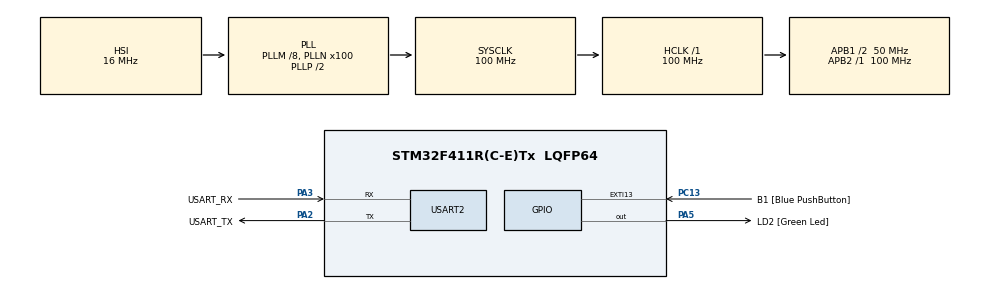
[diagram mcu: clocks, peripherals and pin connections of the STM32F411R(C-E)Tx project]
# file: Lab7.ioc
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Dma.MEMTOMEM.0.Direction=DMA_MEMORY_TO_MEMORY
Dma.MEMTOMEM.0.FIFOMode=DMA_FIFOMODE_ENABLE
Dma.MEMTOMEM.0.FIFOThreshold=DMA_FIFO_THRESHOLD_FULL
Dma.MEMTOMEM.0.Instance=DMA2_Stream0
Dma.MEMTOMEM.0.MemBurst=DMA_MBURST_SINGLE
Dma.MEMTOMEM.0.MemDataAlignment=DMA_MDATAALIGN_BYTE
Dma.MEMTOMEM.0.MemInc=DMA_MINC_ENABLE
Dma.MEMTOMEM.0.Mode=DMA_NORMAL
Dma.MEMTOMEM.0.PeriphBurst=DMA_PBURST_SINGLE
Dma.MEMTOMEM.0.PeriphDataAlignment=DMA_PDATAALIGN_BYTE
Dma.MEMTOMEM.0.PeriphInc=DMA_PINC_ENABLE
Dma.MEMTOMEM.0.Priority=DMA_PRIORITY_LOW
Dma.Request0=MEMTOMEM
Dma.Request1=USART2_RX
Dma.Request2=USART2_TX
Dma.USART2_RX.1.Direction=DMA_PERIPH_TO_MEMORY
Dma.USART2_RX.1.FIFOMode=DMA_FIFOMODE_DISABLE
Dma.USART2_RX.1.Instance=DMA1_Stream5
Dma.USART2_RX.1.MemDataAlignment=DMA_MDATAALIGN_BYTE
Dma.USART2_RX.1.MemInc=DMA_MINC_ENABLE
Dma.USART2_RX.1.Mode=DMA_NORMAL
Dma.USART2_RX.1.PeriphDataAlignment=DMA_PDATAALIGN_BYTE
Dma.USART2_RX.1.PeriphInc=DMA_PINC_DISABLE
Dma.USART2_RX.1.Priority=DMA_PRIORITY_LOW
Dma.USART2_TX.2.Direction=DMA_MEMORY_TO_PERIPH
Dma.USART2_TX.2.FIFOMode=DMA_FIFOMODE_DISABLE
Dma.USART2_TX.2.Instance=DMA1_Stream6
Dma.USART2_TX.2.MemDataAlignment=DMA_MDATAALIGN_BYTE
Dma.USART2_TX.2.MemInc=DMA_MINC_ENABLE
Dma.USART2_TX.2.Mode=DMA_NORMAL
Dma.USART2_TX.2.PeriphDataAlignment=DMA_PDATAALIGN_BYTE
Dma.USART2_TX.2.PeriphInc=DMA_PINC_DISABLE
Dma.USART2_TX.2.Priority=DMA_PRIORITY_LOW
Mcu.Family=STM32F4
Mcu.Name=STM32F411R(C-E)Tx
Mcu.Package=LQFP64
NVIC.DMA1_Stream5_IRQn=true\:0\:0\:false\:false\:true\:false\:true\:true
NVIC.DMA1_Stream6_IRQn=true\:0\:0\:false\:false\:true\:false\:true\:true
NVIC.EXTI15_10_IRQn=true\:0\:0\:false\:false\:true\:true\:true\:true
NVIC.PriorityGroup=NVIC_PRIORITYGROUP_0
NVIC.TIM2_IRQn=true\:0\:0\:false\:false\:true\:true\:true\:true
NVIC.USART2_IRQn=true\:0\:0\:false\:false\:true\:true\:true\:true
PA13.GPIO_Label=TMS
PA13.Mode=Serial_Wire
PA13.Signal=SYS_JTMS-SWDIO
PA14.GPIO_Label=TCK
PA14.Mode=Serial_Wire
PA14.Signal=SYS_JTCK-SWCLK
PA2.GPIO_Label=USART_TX
PA2.Mode=Asynchronous
PA2.Signal=USART2_TX
PA3.GPIO_Label=USART_RX
PA3.Mode=Asynchronous
PA3.Signal=USART2_RX
PA5.GPIO_Label=LD2 [Green Led]
PA5.Signal=GPIO_Output
PB3.GPIO_Label=SWO
PB3.Signal=SYS_JTDO-SWO
PC13-ANTI_TAMP.GPIO_Label=B1 [Blue PushButton]
PC13-ANTI_TAMP.GPIO_ModeDefaultEXTI=GPIO_MODE_IT_FALLING
PC13-ANTI_TAMP.Signal=GPXTI13
PC14-OSC32_IN.Mode=LSE-External-Oscillator
PC14-OSC32_IN.Signal=RCC_OSC32_IN
PC15-OSC32_OUT.Mode=LSE-External-Oscillator
PC15-OSC32_OUT.Signal=RCC_OSC32_OUT
PH0\ -\ OSC_IN.Mode=HSE-External-Clock-Source
PH0\ -\ OSC_IN.Signal=RCC_OSC_IN
PH1\ -\ OSC_OUT.Mode=HSE-External-Clock-Source
PH1\ -\ OSC_OUT.Signal=RCC_OSC_OUT
ProjectManager.HeapSize=0x200
ProjectManager.StackSize=0x400
ProjectManager.TargetToolchain=STM32CubeIDE
RCC.48MHZClocksFreq_Value=50000000
RCC.AHBFreq_Value=100000000
RCC.APB1CLKDivider=RCC_HCLK_DIV2
RCC.APB1Freq_Value=50000000
RCC.APB1TimFreq_Value=100000000
RCC.APB2Freq_Value=100000000
RCC.APB2TimFreq_Value=100000000
RCC.CortexFreq_Value=100000000
RCC.FLatency-AdvancedSettings=FLASH_LATENCY_3
RCC.HCLKFreq_Value=100000000
RCC.HSE_VALUE=8000000
RCC.HSI_VALUE=16000000
RCC.PLLM=8
RCC.PLLN=100
RCC.SYSCLKFreq_VALUE=100000000
RCC.SYSCLKSource=RCC_SYSCLKSOURCE_PLLCLK
RCC.VCOOutputFreq_Value=200000000
TIM2.Period=100000
TIM2.Prescaler=100
USART2.VirtualMode=VM_ASYNC
VP_TIM2_VS_ClockSourceINT.Mode=Internal
board=NUCLEO-F411RE

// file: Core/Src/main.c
/* USER CODE BEGIN Header */
/**
  ******************************************************************************
  * @file           : main.c
  * @brief          : Main program body
  ******************************************************************************
  * @attention
  *
  * Copyright (c) 2023 STMicroelectronics.
  * All rights reserved.
  *
  * This software is licensed under terms that can be found in the LICENSE file
  * in the root directory of this software component.
  * If no LICENSE file comes with this software, it is provided AS-IS.
  *
  ******************************************************************************
  */
/* USER CODE END Header */
#include "main.h"

TIM_HandleTypeDef htim2;

UART_HandleTypeDef huart2;
DMA_HandleTypeDef hdma_usart2_rx;
DMA_HandleTypeDef hdma_usart2_tx;

DMA_HandleTypeDef hdma_memtomem_dma2_stream0;

void SystemClock_Config(void);
static void MX_GPIO_Init(void);
static void MX_DMA_Init(void);
static void MX_USART2_UART_Init(void);
static void MX_TIM2_Init(void);

/* USER CODE BEGIN 0 */
uint8_t arr0[256],arr1[256];
int now = 0,sz = 256,needToPrint = 0,printingIndex = 0,printingArray = 0;
void HAL_GPIO_EXTI_Callback(uint16_t GPIO_Pin){
	if(GPIO_Pin == GPIO_PIN_13){
		HAL_DMA_Start(&hdma_memtomem_dma2_stream0, arr0, arr1, 256);
		HAL_DMA_PollForTransfer(&hdma_memtomem_dma2_stream0, HAL_DMA_FULL_TRANSFER, HAL_MAX_DELAY);
	}
}
void HAL_UART_RxCpltCallback(UART_HandleTypeDef *huart){
//  																	LAB 7-2 BEGIN
//	if(now == 0){
//		HAL_UART_Transmit_DMA(&huart2, arr0, sz);
//		HAL_UART_Receive_DMA(&huart2, arr1, sz);
//	}else{
//		HAL_UART_Transmit_DMA(&huart2, arr1, sz);
//		HAL_UART_Receive_DMA(&huart2, arr0, sz);
//	}
//	now^=1;
//  																	LAB 7-2 END
//	  																	LAB 7-3 BEGIN
	if(now == 0){
		needToPrint = 1;
		printingArray = 0;
		printingIndex = 0;
		HAL_UART_Receive_DMA(&huart2, arr1, sz);
	}else{
		needToPrint = 1;
		printingArray = 1;
		printingIndex = 0;
		HAL_UART_Receive_DMA(&huart2, arr0, sz);
	}
	now^=1;
//  																	LAB 7-3 END
}

void HAL_TIM_PeriodElapsedCallback(TIM_HandleTypeDef* htim){
	if(!needToPrint)		return ;
	if(printingIndex >= sz){
		needToPrint = 0;
		return ;
	}
	int printingSize = 1;
	if(htim->Instance = TIM2){
		if(printingArray == 0){
			HAL_UART_Transmit_DMA(&huart2, arr0, printingSize);
		}else{
			HAL_UART_Transmit_DMA(&huart2, arr1, printingSize);
		}
	}
	printingIndex++;
}
/* USER CODE END 0 */

int main(void)
{

  /* MCU Configuration--------------------------------------------------------*/

  /* Reset of all peripherals, Initializes the Flash interface and the Systick. */
  HAL_Init();

  /* Configure the system clock */
  SystemClock_Config();

  /* Initialize all configured peripherals */
  MX_GPIO_Init();
  MX_DMA_Init();
  MX_USART2_UART_Init();
  MX_TIM2_Init();
  /* USER CODE BEGIN 2 */
//  																	LAB 7-1 BEGIN
//  for(int i=0;i<256;i++)
//	  arr0[i] = ((i + 55) * 37) % 57;
//  HAL_DMA_Init(&hdma_memtomem_dma2_stream0);
//  																	LAB 7-1 END
//																		LAB 7-2 BEGIN
  HAL_UART_Receive_DMA(&huart2, arr0, sz);
//  																	LAB 7-2 END
//  																	LAB 7-3 BEGIN
  HAL_TIM_Base_Start_IT(&htim2);
//  																	LAB 7-3 END

  /* USER CODE END 2 */

  /* Infinite loop */
  /* USER CODE BEGIN WHILE */
  while (1)
  {
	HAL_GPIO_TogglePin(GPIOA, GPIO_PIN_5);
	HAL_Delay(200);
    /* USER CODE END WHILE */

  }
}

void SystemClock_Config(void)
{
  RCC_OscInitTypeDef RCC_OscInitStruct = {0};
  RCC_ClkInitTypeDef RCC_ClkInitStruct = {0};

  /** Configure the main internal regulator output voltage
  */
  __HAL_RCC_PWR_CLK_ENABLE();
  __HAL_PWR_VOLTAGESCALING_CONFIG(PWR_REGULATOR_VOLTAGE_SCALE1);

  /** Initializes the RCC Oscillators according to the specified parameters
  * in the RCC_OscInitTypeDef structure.
  */
  RCC_OscInitStruct.OscillatorType = RCC_OSCILLATORTYPE_HSI;
  RCC_OscInitStruct.HSIState = RCC_HSI_ON;
  RCC_OscInitStruct.HSICalibrationValue = RCC_HSICALIBRATION_DEFAULT;
  RCC_OscInitStruct.PLL.PLLState = RCC_PLL_ON;
  RCC_OscInitStruct.PLL.PLLSource = RCC_PLLSOURCE_HSI;
  RCC_OscInitStruct.PLL.PLLM = 8;
  RCC_OscInitStruct.PLL.PLLN = 100;
  RCC_OscInitStruct.PLL.PLLP = RCC_PLLP_DIV2;
  RCC_OscInitStruct.PLL.PLLQ = 4;
  if (HAL_RCC_OscConfig(&RCC_OscInitStruct) != HAL_OK)
  {
    Error_Handler();
  }

  /** Initializes the CPU, AHB and APB buses clocks
  */
  RCC_ClkInitStruct.ClockType = RCC_CLOCKTYPE_HCLK|RCC_CLOCKTYPE_SYSCLK
                              |RCC_CLOCKTYPE_PCLK1|RCC_CLOCKTYPE_PCLK2;
  RCC_ClkInitStruct.SYSCLKSource = RCC_SYSCLKSOURCE_PLLCLK;
  RCC_ClkInitStruct.AHBCLKDivider = RCC_SYSCLK_DIV1;
  RCC_ClkInitStruct.APB1CLKDivider = RCC_HCLK_DIV2;
  RCC_ClkInitStruct.APB2CLKDivider = RCC_HCLK_DIV1;

  if (HAL_RCC_ClockConfig(&RCC_ClkInitStruct, FLASH_LATENCY_3) != HAL_OK)
  {
    Error_Handler();
  }
}

static void MX_TIM2_Init(void)
{

  TIM_ClockConfigTypeDef sClockSourceConfig = {0};
  TIM_MasterConfigTypeDef sMasterConfig = {0};

  htim2.Instance = TIM2;
  htim2.Init.Prescaler = 100;
  htim2.Init.CounterMode = TIM_COUNTERMODE_UP;
  htim2.Init.Period = 100000;
  htim2.Init.ClockDivision = TIM_CLOCKDIVISION_DIV1;
  htim2.Init.AutoReloadPreload = TIM_AUTORELOAD_PRELOAD_DISABLE;
  if (HAL_TIM_Base_Init(&htim2) != HAL_OK)
  {
    Error_Handler();
  }
  sClockSourceConfig.ClockSource = TIM_CLOCKSOURCE_INTERNAL;
  if (HAL_TIM_ConfigClockSource(&htim2, &sClockSourceConfig) != HAL_OK)
  {
    Error_Handler();
  }
  sMasterConfig.MasterOutputTrigger = TIM_TRGO_RESET;
  sMasterConfig.MasterSlaveMode = TIM_MASTERSLAVEMODE_DISABLE;
  if (HAL_TIMEx_MasterConfigSynchronization(&htim2, &sMasterConfig) != HAL_OK)
  {
    Error_Handler();
  }

}

static void MX_USART2_UART_Init(void)
{

  huart2.Instance = USART2;
  huart2.Init.BaudRate = 115200;
  huart2.Init.WordLength = UART_WORDLENGTH_8B;
  huart2.Init.StopBits = UART_STOPBITS_1;
  huart2.Init.Parity = UART_PARITY_NONE;
  huart2.Init.Mode = UART_MODE_TX_RX;
  huart2.Init.HwFlowCtl = UART_HWCONTROL_NONE;
  huart2.Init.OverSampling = UART_OVERSAMPLING_16;
  if (HAL_UART_Init(&huart2) != HAL_OK)
  {
    Error_Handler();
  }

}

static void MX_DMA_Init(void)
{

  /* DMA controller clock enable */
  __HAL_RCC_DMA2_CLK_ENABLE();
  __HAL_RCC_DMA1_CLK_ENABLE();

  /* Configure DMA request hdma_memtomem_dma2_stream0 on DMA2_Stream0 */
  hdma_memtomem_dma2_stream0.Instance = DMA2_Stream0;
  hdma_memtomem_dma2_stream0.Init.Channel = DMA_CHANNEL_0;
  hdma_memtomem_dma2_stream0.Init.Direction = DMA_MEMORY_TO_MEMORY;
  hdma_memtomem_dma2_stream0.Init.PeriphInc = DMA_PINC_ENABLE;
  hdma_memtomem_dma2_stream0.Init.MemInc = DMA_MINC_ENABLE;
  hdma_memtomem_dma2_stream0.Init.PeriphDataAlignment = DMA_PDATAALIGN_BYTE;
  hdma_memtomem_dma2_stream0.Init.MemDataAlignment = DMA_MDATAALIGN_BYTE;
  hdma_memtomem_dma2_stream0.Init.Mode = DMA_NORMAL;
  hdma_memtomem_dma2_stream0.Init.Priority = DMA_PRIORITY_LOW;
  hdma_memtomem_dma2_stream0.Init.FIFOMode = DMA_FIFOMODE_ENABLE;
  hdma_memtomem_dma2_stream0.Init.FIFOThreshold = DMA_FIFO_THRESHOLD_FULL;
  hdma_memtomem_dma2_stream0.Init.MemBurst = DMA_MBURST_SINGLE;
  hdma_memtomem_dma2_stream0.Init.PeriphBurst = DMA_PBURST_SINGLE;
  if (HAL_DMA_Init(&hdma_memtomem_dma2_stream0) != HAL_OK)
  {
    Error_Handler( );
  }

  /* DMA interrupt init */
  /* DMA1_Stream5_IRQn interrupt configuration */
  HAL_NVIC_SetPriority(DMA1_Stream5_IRQn, 0, 0);
  HAL_NVIC_EnableIRQ(DMA1_Stream5_IRQn);
  /* DMA1_Stream6_IRQn interrupt configuration */
  HAL_NVIC_SetPriority(DMA1_Stream6_IRQn, 0, 0);
  HAL_NVIC_EnableIRQ(DMA1_Stream6_IRQn);

}

static void MX_GPIO_Init(void)
{
  GPIO_InitTypeDef GPIO_InitStruct = {0};

  /* GPIO Ports Clock Enable */
  __HAL_RCC_GPIOC_CLK_ENABLE();
  __HAL_RCC_GPIOH_CLK_ENABLE();
  __HAL_RCC_GPIOA_CLK_ENABLE();
  __HAL_RCC_GPIOB_CLK_ENABLE();

  /*Configure GPIO pin Output Level */
  HAL_GPIO_WritePin(LD2_GPIO_Port, LD2_Pin, GPIO_PIN_RESET);

  /*Configure GPIO pin : B1_Pin */
  GPIO_InitStruct.Pin = B1_Pin;
  GPIO_InitStruct.Mode = GPIO_MODE_IT_FALLING;
  GPIO_InitStruct.Pull = GPIO_NOPULL;
  HAL_GPIO_Init(B1_GPIO_Port, &GPIO_InitStruct);

  /*Configure GPIO pin : LD2_Pin */
  GPIO_InitStruct.Pin = LD2_Pin;
  GPIO_InitStruct.Mode = GPIO_MODE_OUTPUT_PP;
  GPIO_InitStruct.Pull = GPIO_NOPULL;
  GPIO_InitStruct.Speed = GPIO_SPEED_FREQ_LOW;
  HAL_GPIO_Init(LD2_GPIO_Port, &GPIO_InitStruct);

  /* EXTI interrupt init*/
  HAL_NVIC_SetPriority(EXTI15_10_IRQn, 0, 0);
  HAL_NVIC_EnableIRQ(EXTI15_10_IRQn);

}

void Error_Handler(void)
{
  __disable_irq();
  while (1)
  {
  }
}
